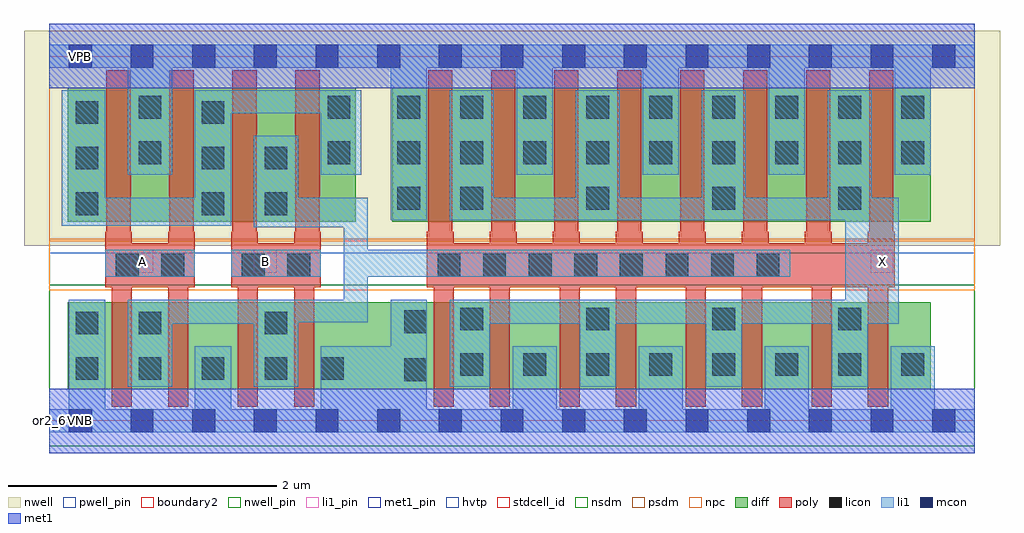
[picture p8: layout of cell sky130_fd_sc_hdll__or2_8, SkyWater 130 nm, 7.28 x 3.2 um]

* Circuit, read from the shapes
.subckt sky130_fd_sc_hdll__or2_8 A B VGND VNB VPB VPWR X
XM1 n1 A VGND VNB sky130_fd_pr__nfet_01v8 w=0.65 l=0.15 m=2
XM2 n1 B VGND VNB sky130_fd_pr__nfet_01v8 w=0.65 l=0.15 m=2
XM3 X n1 VGND VNB sky130_fd_pr__nfet_01v8 w=0.65 l=0.15 m=8
XM4 VPWR A n2 VPB sky130_fd_pr__pfet_01v8_hvt w=1 l=0.18 m=2
XM5 n1 B n2 VPB sky130_fd_pr__pfet_01v8_hvt w=1 l=0.18 m=2
XM6 X n1 VPWR VPB sky130_fd_pr__pfet_01v8_hvt w=1 l=0.18 m=8
.ends

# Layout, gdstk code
import gdstk
lib = gdstk.Library(unit=1e-6, precision=1e-09)
def R(c, l, rs):  # rectangles x0, y0, x1, y1
    for r in rs: c.add(gdstk.rectangle(r[:2], r[2:], *l))
def A(c, l, x, y, w, h, nx, ny, dx, dy):  # array of equal rectangles
    R(c, l, [(x+i*dx, y+j*dy, x+i*dx+w, y+j*dy+h) for i in range(nx) for j in range(ny)])
def P(c, l, *ps):  # polygons
    for p in ps: c.add(gdstk.Polygon(p, *l))
nwell_pin = (64, 16)
nwell = (64, 20)
diff = (65, 20)
poly = (66, 20)
licon = (66, 44)
li1_pin = (67, 16)
li1 = (67, 20)
mcon = (67, 44)
met1_pin = (68, 16)
met1 = (68, 20)
hvtp = (78, 44)
stdcell_id = (81, 4)
nsdm = (93, 44)
psdm = (94, 20)
npc = (95, 20)
pwell_pin = (122, 16)
boundary2 = (236, 0)

sky130_fd_sc_hdll__or2_8 = lib.new_cell('sky130_fd_sc_hdll__or2_8')
R(sky130_fd_sc_hdll__or2_8, nwell_pin, [(0.15,2.635,0.32,2.805)])
R(sky130_fd_sc_hdll__or2_8, nwell, [(-0.19,1.305,7.09,2.91)])
R(sky130_fd_sc_hdll__or2_8, diff, [(0.135,0.235,6.575,0.885), (0.135,1.485,2.285,2.485), (2.555,1.485,6.575,2.485)])
P(sky130_fd_sc_hdll__or2_8, poly, [(1.085,1.41),(1.075,1.41),(1.075,2.615),(0.895,2.615),(0.895,1.41),(0.885,1.41),(0.885,1.325),(0.615,1.325),(0.615,1.41),(0.605,1.41),(0.605,2.615),(0.425,2.615),(0.425,1.41),(0.415,1.41),(0.415,0.995),(0.465,0.995),(0.465,0.105),(0.615,0.105),(0.615,0.995),(0.885,0.995),(0.885,0.105),(1.035,0.105),(1.035,0.995),(1.085,0.995)],
  [(2.025,1.41),(2.015,1.41),(2.015,2.615),(1.835,2.615),(1.835,1.41),(1.825,1.41),(1.825,1.325),(1.555,1.325),(1.555,1.41),(1.545,1.41),(1.545,2.615),(1.365,2.615),(1.365,1.41),(1.355,1.41),(1.355,0.995),(1.405,0.995),(1.405,0.105),(1.555,0.105),(1.555,0.995),(1.825,0.995),(1.825,0.105),(1.975,0.105),(1.975,0.995),(2.025,0.995)],
  [(6.305,1.41),(6.295,1.41),(6.295,2.615),(6.115,2.615),(6.115,1.41),(6.105,1.41),(6.105,1.325),(5.835,1.325),(5.835,1.41),(5.825,1.41),(5.825,2.615),(5.645,2.615),(5.645,1.41),(5.635,1.41),(5.635,1.325),(5.365,1.325),(5.365,1.41),(5.355,1.41),(5.355,2.615),(5.175,2.615),(5.175,1.41),(5.165,1.41),(5.165,1.325),(4.895,1.325),(4.895,1.41),(4.885,1.41),(4.885,2.615),(4.705,2.615),(4.705,1.41),(4.695,1.41),(4.695,1.325),(4.425,1.325),(4.425,1.41),(4.415,1.41),(4.415,2.615),(4.235,2.615),(4.235,1.41),(4.225,1.41),(4.225,1.325),(3.955,1.325),(3.955,1.41),(3.945,1.41),(3.945,2.615),(3.765,2.615),(3.765,1.41),(3.755,1.41),(3.755,1.325),(3.485,1.325),(3.485,1.41),(3.475,1.41),(3.475,2.615),(3.295,2.615),(3.295,1.41),(3.285,1.41),(3.285,1.325),(3.015,1.325),(3.015,1.41),(3.005,1.41),(3.005,2.615),(2.825,2.615),(2.825,1.41),(2.815,1.41),(2.815,0.995),(2.865,0.995),(2.865,0.105),(3.015,0.105),(3.015,0.995),(3.285,0.995),(3.285,0.105),(3.435,0.105),(3.435,0.995),(3.805,0.995),(3.805,0.105),(3.955,0.105),(3.955,0.995),(4.225,0.995),(4.225,0.105),(4.375,0.105),(4.375,0.995),(4.745,0.995),(4.745,0.105),(4.895,0.105),(4.895,0.995),(5.165,0.995),(5.165,0.105),(5.315,0.105),(5.315,0.995),(5.685,0.995),(5.685,0.105),(5.835,0.105),(5.835,0.995),(6.105,0.995),(6.105,0.105),(6.255,0.105),(6.255,0.995),(6.305,0.995)])
A(sky130_fd_sc_hdll__or2_8, licon, 0.195, 0.305, 0.17, 0.17, 4, 1, 0.47, 0)
A(sky130_fd_sc_hdll__or2_8, licon, 3.065, 0.335, 0.17, 0.17, 8, 1, 0.47, 0)
A(sky130_fd_sc_hdll__or2_8, licon, 3.065, 0.675, 0.17, 0.17, 4, 2, 0.94, 0.9)
A(sky130_fd_sc_hdll__or2_8, licon, 2.895, 1.075, 0.17, 0.17, 8, 1, 0.34, 0)
A(sky130_fd_sc_hdll__or2_8, licon, 0.195, 1.535, 0.17, 0.17, 1, 3, 0, 0.34)
A(sky130_fd_sc_hdll__or2_8, licon, 1.135, 1.535, 0.17, 0.17, 1, 3, 0, 0.34)
A(sky130_fd_sc_hdll__or2_8, licon, 2.595, 1.915, 0.17, 0.17, 9, 2, 0.47, 0.34)
R(sky130_fd_sc_hdll__or2_8, licon, [(2.645,0.295,2.815,0.465), (2.025,0.305,2.195,0.475), (0.195,0.645,0.365,0.815), (0.665,0.645,0.835,0.815), (1.605,0.645,1.775,0.815), (2.645,0.655,2.815,0.825), (0.495,1.075,0.665,1.245), (0.835,1.075,1.005,1.245), (1.435,1.075,1.605,1.245), (1.775,1.075,1.945,1.245), (1.605,1.535,1.775,1.705), (2.595,1.575,2.765,1.745), (1.605,1.875,1.775,2.045), (0.665,1.915,0.835,2.085), (2.075,1.915,2.245,2.085), (0.665,2.255,0.835,2.425), (2.075,2.255,2.245,2.425)])
R(sky130_fd_sc_hdll__or2_8, li1_pin, [(0.605,1.105,0.775,1.275), (1.525,1.105,1.695,1.275), (6.125,1.105,6.295,1.275)])
R(sky130_fd_sc_hdll__or2_8, li1, [(0.415,1.075,1.085,1.275), (1.355,1.075,2.025,1.275)])
P(sky130_fd_sc_hdll__or2_8, li1, [(6.9,0.085),(6.605,0.085),(6.605,0.555),(6.275,0.555),(6.275,0.085),(5.665,0.085),(5.665,0.555),(5.335,0.555),(5.335,0.085),(4.725,0.085),(4.725,0.555),(4.395,0.555),(4.395,0.085),(3.785,0.085),(3.785,0.555),(3.455,0.555),(3.455,0.085),(2.815,0.085),(2.815,0.905),(2.545,0.905),(2.545,0.555),(2.025,0.555),(2.025,0.085),(1.355,0.085),(1.355,0.555),(1.085,0.555),(1.085,0.085),(0.415,0.085),(0.415,0.905),(0.145,0.905),(0.145,0.085),(0,0.085),(0,-0.085),(6.9,-0.085)],
  [(6.9,2.805),(0,2.805),(0,2.635),(0.585,2.635),(0.585,1.835),(0.915,1.835),(0.915,2.635),(2.545,2.635),(2.545,1.495),(2.815,1.495),(2.815,2.635),(3.485,2.635),(3.485,1.835),(3.755,1.835),(3.755,2.635),(4.425,2.635),(4.425,1.835),(4.695,1.835),(4.695,2.635),(5.365,2.635),(5.365,1.835),(5.635,1.835),(5.635,2.635),(6.305,2.635),(6.305,1.835),(6.575,1.835),(6.575,2.635),(6.9,2.635)],
  [(6.335,1.665),(6.135,1.665),(6.135,2.465),(5.805,2.465),(5.805,1.665),(5.195,1.665),(5.195,2.465),(4.865,2.465),(4.865,1.665),(4.255,1.665),(4.255,2.465),(3.925,2.465),(3.925,1.665),(3.315,1.665),(3.315,2.465),(2.985,2.465),(2.985,1.495),(5.935,1.495),(5.935,0.905),(2.985,0.905),(2.985,0.255),(3.285,0.255),(3.285,0.725),(3.955,0.725),(3.955,0.255),(4.225,0.255),(4.225,0.725),(4.895,0.725),(4.895,0.255),(5.165,0.255),(5.165,0.725),(5.835,0.725),(5.835,0.255),(6.105,0.255),(6.105,0.725),(6.335,0.725)],
  [(2.325,2.465),(1.085,2.465),(1.085,1.665),(0.415,1.665),(0.415,2.465),(0.09,2.465),(0.09,1.455),(1.355,1.455),(1.355,2.295),(2.025,2.295),(2.025,1.835),(2.325,1.835)],
  [(5.525,1.275),(2.375,1.275),(2.375,1.665),(1.855,1.665),(1.855,2.125),(1.525,2.125),(1.525,1.445),(2.195,1.445),(2.195,0.905),(0.585,0.905),(0.585,0.255),(0.915,0.255),(0.915,0.725),(1.525,0.725),(1.525,0.255),(1.855,0.255),(1.855,0.735),(2.375,0.735),(2.375,1.075),(5.525,1.075)])
A(sky130_fd_sc_hdll__or2_8, mcon, 0.145, -0.085, 0.17, 0.17, 15, 2, 0.46, 2.72)
R(sky130_fd_sc_hdll__or2_8, met1_pin, [(0.15,-0.085,0.32,0.085), (0.15,2.635,0.32,2.805)])
R(sky130_fd_sc_hdll__or2_8, met1, [(0,-0.24,6.9,0.24), (0,2.48,6.9,2.96)])
R(sky130_fd_sc_hdll__or2_8, hvtp, [(0,1.25,6.9,2.72)])
R(sky130_fd_sc_hdll__or2_8, stdcell_id, [(0,0,6.9,2.72)])
R(sky130_fd_sc_hdll__or2_8, nsdm, [(0,-0.19,6.9,1.015)])
R(sky130_fd_sc_hdll__or2_8, psdm, [(0,1.355,6.9,2.91)])
R(sky130_fd_sc_hdll__or2_8, npc, [(0,0.975,6.9,1.345)])
R(sky130_fd_sc_hdll__or2_8, pwell_pin, [(0.15,-0.085,0.32,0.085)])
R(sky130_fd_sc_hdll__or2_8, boundary2, [(0,0,6.9,2.72)])
sky130_fd_sc_hdll__or2_8.add(gdstk.Label('X', (6.215,1.19), layer=67, texttype=5))
sky130_fd_sc_hdll__or2_8.add(gdstk.Label('A', (0.695,1.19), layer=67, texttype=5))
sky130_fd_sc_hdll__or2_8.add(gdstk.Label('B', (1.615,1.19), layer=67, texttype=5))
sky130_fd_sc_hdll__or2_8.add(gdstk.Label('VNB', (0.235,0), layer=64, texttype=59))
sky130_fd_sc_hdll__or2_8.add(gdstk.Label('VPB', (0.235,2.72), layer=64, texttype=5))
sky130_fd_sc_hdll__or2_8.add(gdstk.Label('VGND', (0.23,0), layer=68, texttype=5))
sky130_fd_sc_hdll__or2_8.add(gdstk.Label('VPWR', (0.235,2.72), layer=68, texttype=5))
sky130_fd_sc_hdll__or2_8.add(gdstk.Label('or2_6', (0,0), layer=83, texttype=44))

lib.write_gds('sky130_fd_sc_hdll__or2_8.gds')
